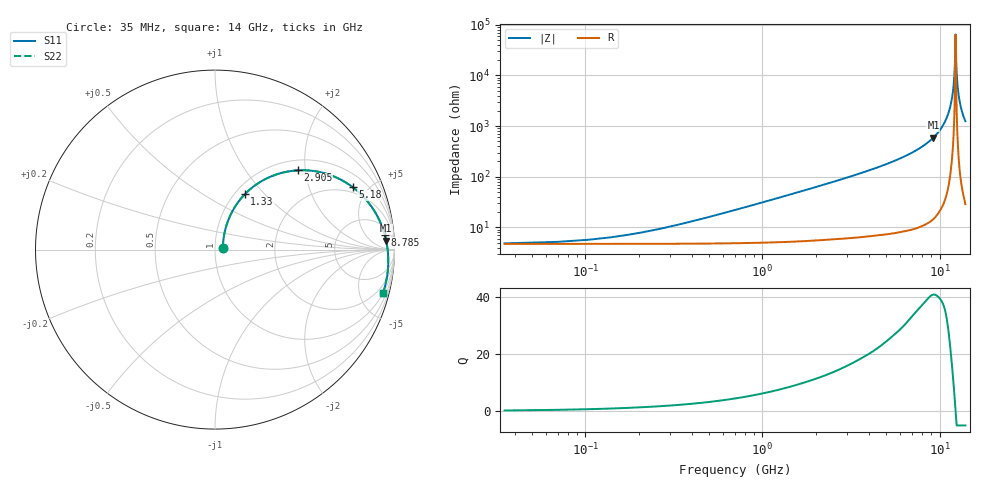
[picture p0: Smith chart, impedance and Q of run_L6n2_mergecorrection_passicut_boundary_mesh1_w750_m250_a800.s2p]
#  Hz  S  RI  R  50
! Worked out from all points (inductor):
!   400 points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, 35 MHz to 14 GHz, reference 50 ohm
!   read as one part in series: L = 4.87 nH near 490 MHz
!   highest Q = 40.7 at 9.24 GHz (marker M1), where L = 10.2 nH
!   self-resonance near 12.32 GHz
!   S11 on the Smith chart (normalised r, x): 35 MHz: 1.09, +0.02; 1.33 GHz: 1.11, +0.78; 2.905 GHz: 1.22, +1.82; 5.18 GHz: 1.66, +3.96; 8.785 GHz: 10, +17; 14 GHz: 1.04, -7.72
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3.5e7  0.0436 0.00913  0.9534 -0.0104  0.9534 -0.0104  0.0436 0.00913
5.6e8  0.0665 0.1433  0.9242 -0.1614  0.9242 -0.1614  0.0665 0.1433
1.33e9  0.166 0.3084  0.8128 -0.3349  0.8128 -0.3349  0.166 0.3083
2.38e9  0.3637 0.4253  0.6126 -0.4604  0.6126 -0.4604  0.3636 0.4251
2.905e9  0.4609 0.4415  0.514 -0.4822  0.514 -0.4822  0.4608 0.4413
4.69e9  0.7176 0.3806  0.2549 -0.4404  0.2549 -0.4404  0.7175 0.3805
5.18e9  0.7667 0.3483  0.205 -0.4134  0.205 -0.4134  0.7666 0.348
7.035e9  0.8908 0.2106  0.0787 -0.2967  0.0787 -0.2967  0.8906 0.2103
8.785e9  0.9461 0.0818  0.0208 -0.1882  0.0208 -0.1882  0.9459 0.0815
9.24e9  0.9539 0.0499  0.0123 -0.1615  0.0123 -0.1615  0.9537 0.0495
9.345e9  0.9553 0.0426  0.0107 -0.1554  0.0107 -0.1554  0.9552 0.0423
1.0815e10  0.9654 -0.0552  -0.00205 -0.0749  -0.00205 -0.0749  0.9652 -0.0555
1.169e10  0.9636 -0.1098  -0.0017 -0.0306  -0.0017 -0.0306  0.9633 -0.1102
1.1935e10  0.9621 -0.1247  -0.000744 -0.0187  -0.000744 -0.0187  0.9619 -0.1251
1.211e10  0.9608 -0.1352  0.000145 -0.0104  0.000145 -0.0104  0.9606 -0.1356
1.2215e10  0.96 -0.1414  0.000758 -0.00539  0.000759 -0.00539  0.9597 -0.1418
1.232e10  0.959 -0.1476  0.00143 -0.000441  0.00143 -0.000442  0.9588 -0.148
1.2425e10  0.958 -0.1538  0.00217 0.00448  0.00217 0.00448  0.9578 -0.1542
1.2495e10  0.9573 -0.1579  0.0027 0.00774  0.0027 0.00774  0.9571 -0.1583
1.274e10  0.9547 -0.172  0.00478 0.0191  0.00478 0.019  0.9544 -0.1724
1.323e10  0.9485 -0.1997  0.01 0.0411  0.01 0.0411  0.9482 -0.2002
1.4e10  0.9361 -0.2421  0.0206 0.0738  0.0206 0.0738  0.9358 -0.2425
